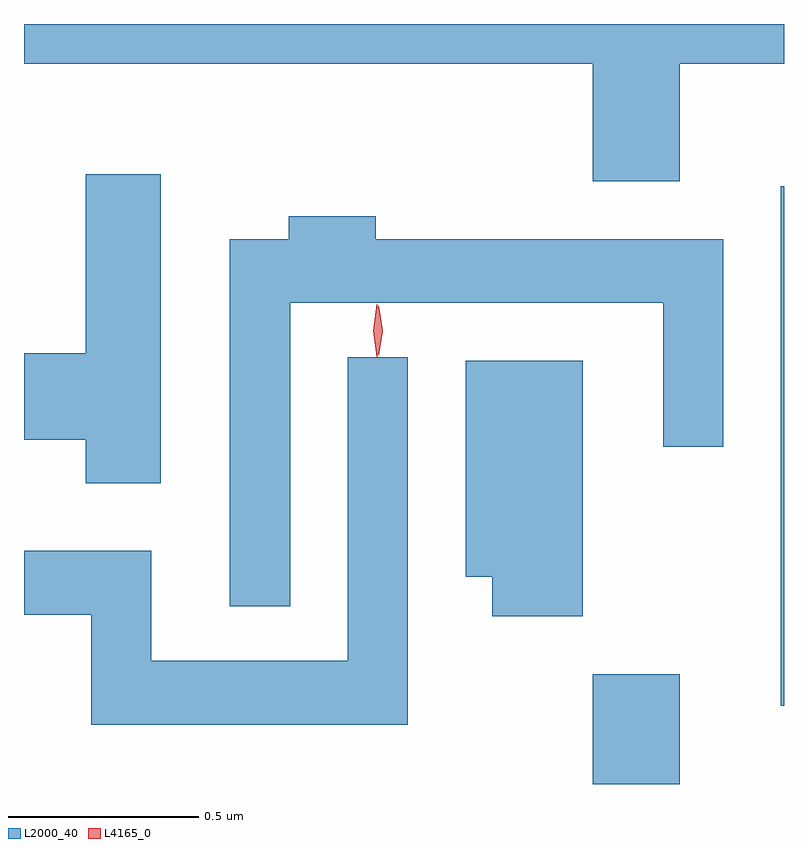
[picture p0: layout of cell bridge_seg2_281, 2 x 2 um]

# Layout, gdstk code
import gdstk
lib = gdstk.Library(unit=1e-6, precision=1e-09)
def R(c, l, rs):  # rectangles x0, y0, x1, y1
    for r in rs: c.add(gdstk.rectangle(r[:2], r[2:], *l))
def P(c, l, *ps):  # polygons
    for p in ps: c.add(gdstk.Polygon(p, *l))
L2000_40 = (2000, 40)
L4165_0 = (4165, 0)

bridge_seg2_281 = lib.new_cell('bridge_seg2_281')
R(bridge_seg2_281, L2000_40, [(647.311,1101.92,647.539,1102.209), (647.806,1102.126,647.814,1103.493)])
P(bridge_seg2_281, L2000_40, [(647.539,1103.816),(647.814,1103.816),(647.814,1103.92),(645.814,1103.92),(645.814,1103.816),(647.311,1103.816),(647.311,1103.506),(647.539,1103.506)],
  [(646.174,1103.524),(645.976,1103.524),(645.976,1103.054),(645.814,1103.054),(645.814,1102.826),(645.976,1102.826),(645.976,1102.711),(646.174,1102.711)],
  [(646.514,1103.186),(647.496,1103.186),(647.496,1102.808),(647.654,1102.808),(647.654,1103.354),(646.739,1103.354),(646.739,1103.414),(646.511,1103.414),(646.511,1103.354),(646.356,1103.354),(646.356,1102.388),(646.514,1102.388)],
  [(646.824,1103.043),(646.666,1103.043),(646.666,1102.244),(646.149,1102.244),(646.149,1102.534),(645.814,1102.534),(645.814,1102.366),(645.991,1102.366),(645.991,1102.076),(646.824,1102.076)],
  [(647.284,1103.034),(646.976,1103.034),(646.976,1102.466),(647.046,1102.466),(647.046,1102.361),(647.284,1102.361)])
P(bridge_seg2_281, L4165_0, [(646.747,1103.047),(646.738,1103.113),(646.747,1103.18),(646.748,1103.18),(646.748,1103.18),(646.758,1103.113),(646.748,1103.047),(646.748,1103.047)],
  [(646.743,1103.043),(646.742,1103.044),(646.733,1103.113),(646.742,1103.182),(646.743,1103.183),(646.743,1103.182),(646.753,1103.113),(646.743,1103.044)])

lib.write_gds('bridge_seg2_281.gds')
